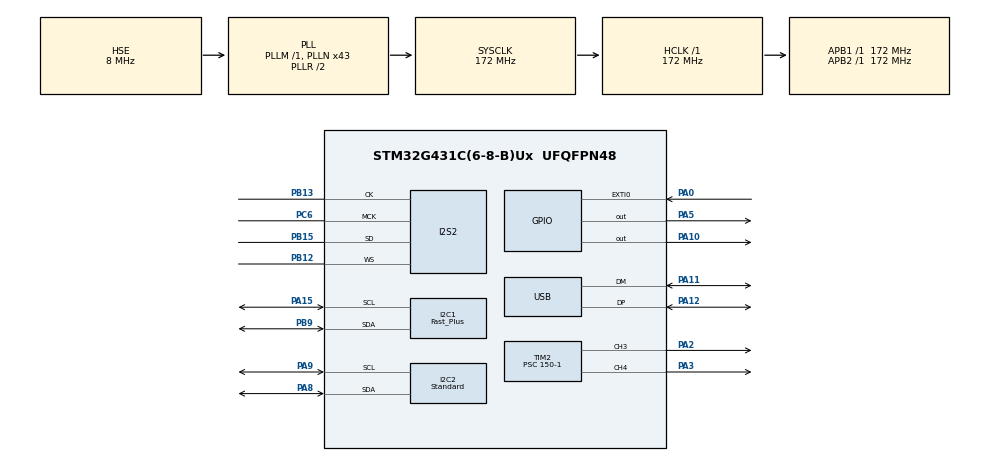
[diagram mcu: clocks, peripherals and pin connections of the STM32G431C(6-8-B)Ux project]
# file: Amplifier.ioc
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Dma.Request0=SPI2_TX
Dma.SPI2_TX.0.Direction=DMA_MEMORY_TO_PERIPH
Dma.SPI2_TX.0.EventEnable=DISABLE
Dma.SPI2_TX.0.Instance=DMA1_Channel1
Dma.SPI2_TX.0.MemDataAlignment=DMA_MDATAALIGN_HALFWORD
Dma.SPI2_TX.0.MemInc=DMA_MINC_ENABLE
Dma.SPI2_TX.0.Mode=DMA_NORMAL
Dma.SPI2_TX.0.PeriphDataAlignment=DMA_PDATAALIGN_HALFWORD
Dma.SPI2_TX.0.PeriphInc=DMA_PINC_DISABLE
Dma.SPI2_TX.0.Polarity=HAL_DMAMUX_REQ_GEN_RISING
Dma.SPI2_TX.0.Priority=DMA_PRIORITY_VERY_HIGH
Dma.SPI2_TX.0.RequestNumber=1
Dma.SPI2_TX.0.SignalID=NONE
Dma.SPI2_TX.0.SyncEnable=DISABLE
Dma.SPI2_TX.0.SyncPolarity=HAL_DMAMUX_SYNC_NO_EVENT
Dma.SPI2_TX.0.SyncRequestNumber=1
Dma.SPI2_TX.0.SyncSignalID=NONE
I2C1.Analog_Filter=I2C_ANALOGFILTER_ENABLE
I2C1.CustomTiming=Disabled
I2C1.I2C_Speed_Mode=I2C_Fast_Plus
I2C1.Timing=0x10C31226
I2C2.CustomTiming=Disabled
I2C2.I2C_Fall_Time=80
I2C2.I2C_Rise_Time=80
I2C2.I2C_Speed_Mode=I2C_Standard
I2C2.Speed=100
I2C2.Timing=0x30E1A9F7
I2S2.AudioFreq=I2S_AUDIOFREQ_48K
I2S2.DataFormat=I2S_DATAFORMAT_16B
I2S2.ErrorAudioFreq=-0.01 %
I2S2.FullDuplexMode=I2S_FULLDUPLEXMODE_DISABLE
I2S2.Instance=SPI$Index
I2S2.RealAudioFreq=47.991 KHz
I2S2.VirtualMode=I2S_MODE_MASTER
Mcu.Family=STM32G4
Mcu.Name=STM32G431C(6-8-B)Ux
Mcu.Package=UFQFPN48
NVIC.DMA1_Channel1_IRQn=true\:0\:0\:true\:false\:true\:false\:true\:true
NVIC.EXTI0_IRQn=true\:0\:0\:false\:false\:true\:true\:true\:true
NVIC.PriorityGroup=NVIC_PRIORITYGROUP_4
NVIC.SPI2_IRQn=true\:0\:0\:true\:false\:true\:true\:true\:true
NVIC.TIM6_DAC_IRQn=true\:0\:0\:false\:false\:true\:true\:true\:true
NVIC.TIM7_IRQn=true\:0\:0\:false\:false\:true\:true\:true\:true
NVIC.USB_LP_IRQn=true\:0\:0\:true\:false\:true\:false\:true\:true
PA0.GPIO_ModeDefaultEXTI=GPIO_MODE_IT_FALLING
PA0.Signal=GPXTI0
PA10.Signal=GPIO_Output
PA11.Mode=Device
PA11.Signal=USB_DM
PA12.Mode=Device
PA12.Signal=USB_DP
PA13.Mode=Serial_Wire
PA13.Signal=SYS_JTMS-SWDIO
PA14.Mode=Serial_Wire
PA14.Signal=SYS_JTCK-SWCLK
PA15.Mode=I2C
PA15.Signal=I2C1_SCL
PA2.Signal=S_TIM2_CH3
PA3.Signal=S_TIM2_CH4
PA5.Signal=GPIO_Output
PA8.Mode=I2C
PA8.Signal=I2C2_SDA
PA9.Mode=I2C
PA9.Signal=I2C2_SCL
PB12.Mode=Half_Duplex_Master
PB12.Signal=I2S2_WS
PB13.Mode=Half_Duplex_Master
PB13.Signal=I2S2_CK
PB15.Mode=Half_Duplex_Master
PB15.Signal=I2S2_SD
PB9.Mode=I2C
PB9.Signal=I2C1_SDA
PC6.Mode=Master_Clock_Activated
PC6.Signal=I2S2_MCK
PF0-OSC_IN.Mode=HSE-External-Oscillator
PF0-OSC_IN.Signal=RCC_OSC_IN
PF1-OSC_OUT.Mode=HSE-External-Oscillator
PF1-OSC_OUT.Signal=RCC_OSC_OUT
ProjectManager.HeapSize=0x0
ProjectManager.StackSize=0x400
ProjectManager.TargetToolchain=CMake
RCC.ADC12Freq_Value=172000000
RCC.AHBFreq_Value=172000000
RCC.APB1Freq_Value=172000000
RCC.APB1TimFreq_Value=172000000
RCC.APB2Freq_Value=172000000
RCC.APB2TimFreq_Value=172000000
RCC.CK48CLockSelection=RCC_USBCLKSOURCE_HSI48
RCC.CortexFreq_Value=172000000
RCC.EXTERNAL_CLOCK_VALUE=12288000
RCC.HCLKFreq_Value=172000000
RCC.HSE_VALUE=8000000
RCC.HSI48_VALUE=48000000
RCC.HSI_VALUE=16000000
RCC.I2SCLockSelection=RCC_I2SCLKSOURCE_PLL
RCC.LSE_VALUE=32768
RCC.PLLN=43
RCC.PLLSourceVirtual=RCC_PLLSOURCE_HSE
RCC.PREFETCH_ENABLE=1
RCC.SYSCLKFreq_VALUE=172000000
RCC.SYSCLKSource=RCC_SYSCLKSOURCE_PLLCLK
RCC.USBFreq_Value=48000000
RCC.VCOOutputFreq_Value=344000000
SH.S_TIM2_CH3.0=TIM2_CH3,PWM Generation3 CH3
SH.S_TIM2_CH4.0=TIM2_CH4,PWM Generation4 CH4
TIM2.Channel-PWM\ Generation3\ CH3=TIM_CHANNEL_3
TIM2.Channel-PWM\ Generation4\ CH4=TIM_CHANNEL_4
TIM2.PeriodNoDither=1000-1
TIM2.Prescaler=150-1
TIM2.PulseNoDither_3=400
TIM2.PulseNoDither_4=400
TIM6.PeriodNoDither=10000-1
TIM6.Prescaler=17200-1
TIM7.PeriodNoDither=50963-1
TIM7.Prescaler=9-1
USB_DEVICE.CLASS_NAME_FS=AUDIO
USB_DEVICE.LANGID_STRING=1033
USB_DEVICE.USBD_AUDIO_FREQ=48000
USB_DEVICE.VirtualMode=Audio
USB_DEVICE.VirtualModeFS=Audio_FS
VP_SYS_VS_DBSignals.Mode=DisableDeadBatterySignals
VP_TIM2_VS_ClockSourceINT.Mode=Internal
VP_TIM6_VS_ClockSourceINT.Mode=Enable_Timer
VP_TIM7_VS_ClockSourceINT.Mode=Enable_Timer
VP_USB_DEVICE_VS_USB_DEVICE_AUDIO_FS.Mode=AUDIO_FS
board=custom

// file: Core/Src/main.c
/* USER CODE BEGIN Header */
/**
  ******************************************************************************
  * @file           : main.c
  * @brief          : Main program body
  ******************************************************************************
  * @attention
  *
  * Copyright (c) 2024 STMicroelectronics.
  * All rights reserved.
  *
  * This software is licensed under terms that can be found in the LICENSE file
  * in the root directory of this software component.
  * If no LICENSE file comes with this software, it is provided AS-IS.
  *
  ******************************************************************************
  */
/* USER CODE END Header */
#include "main.h"
#include "dma.h"
#include "i2c.h"
#include "i2s.h"
#include "tim.h"
#include "usb_device.h"
#include "gpio.h"

/* USER CODE BEGIN Includes */
#include "oled.h"
#include "fft.h"
#include "arm_const_structs.h"
#include "audio.h"

const arm_cfft_instance_f32 arm_cfft_sR_f32_len32;
/* USER CODE END Includes */

/* USER CODE BEGIN PV */
//const float fft_raw[32] = {
//50,62,73,84,93,101,107,110,112,110,107,101,93,84,73,62,
//50,37,26,15,6,-1,-7,-10,-12,-10,-7,-1,6,15,26,37
//};
//float complex fft_out[33] = {0};
/* USER CODE END PV */

void SystemClock_Config(void);

/* USER CODE BEGIN 0 */
static void usbd_port_config(uint8_t state)
{
    GPIO_InitTypeDef GPIO_Initure;
    __HAL_RCC_GPIOA_CLK_ENABLE();     /* 使能PORTA时钟 */

    if (state)
    {
        USB->CNTR &= ~(1 << 1); /* PWDN = 0, 退出断电模式 */

        /* PA11引脚模式设置,复用功能 */
        GPIO_Initure.Pin = GPIO_PIN_11;
        GPIO_Initure.Mode = GPIO_MODE_AF_PP;
        GPIO_Initure.Pull = GPIO_PULLUP;
        GPIO_Initure.Speed = GPIO_SPEED_FREQ_HIGH;
        HAL_GPIO_Init(GPIOA, &GPIO_Initure);

        /* PA12引脚模式设置,复用功能 */
        GPIO_Initure.Pin = GPIO_PIN_12;
        GPIO_Initure.Mode = GPIO_MODE_AF_PP;
        GPIO_Initure.Pull = GPIO_PULLUP;
        GPIO_Initure.Speed = GPIO_SPEED_FREQ_HIGH;
        HAL_GPIO_Init(GPIOA, &GPIO_Initure);

    }
    else
    {
        USB->CNTR |= 1 << 1;    /* PWDN = 1, 进入断电模式 */

        /* PA11引脚模式设置,推挽输出 */
        GPIO_Initure.Pin = GPIO_PIN_11;
        GPIO_Initure.Mode = GPIO_MODE_OUTPUT_PP;
        GPIO_Initure.Pull = GPIO_PULLUP;
        GPIO_Initure.Speed = GPIO_SPEED_FREQ_HIGH;
        HAL_GPIO_Init(GPIOA, &GPIO_Initure);

        /* PA12引脚模式设置,推挽输出 */
        GPIO_Initure.Pin = GPIO_PIN_12;
        HAL_GPIO_Init(GPIOA, &GPIO_Initure);

        HAL_GPIO_WritePin(GPIOA, GPIO_PIN_11, GPIO_PIN_RESET); /* PA11 = 0 */
        HAL_GPIO_WritePin(GPIOA, GPIO_PIN_12, GPIO_PIN_RESET); /* PA12 = 0 */

    }
}

/* USER CODE END 0 */

int main(void)
{

  /* MCU Configuration--------------------------------------------------------*/

  /* Reset of all peripherals, Initializes the Flash interface and the Systick. */
  HAL_Init();

  /* Configure the system clock */
  SystemClock_Config();

  /* USER CODE BEGIN SysInit */
    __HAL_FLASH_INSTRUCTION_CACHE_ENABLE();
    __HAL_FLASH_DATA_CACHE_ENABLE();
    usbd_port_config(0);
    HAL_Delay(500);
//    usbd_port_config(1);
//    HAL_Delay(500);
  /* USER CODE END SysInit */

  /* Initialize all configured peripherals */
  MX_GPIO_Init();
  MX_DMA_Init();
  MX_I2C1_Init();
  MX_I2C2_Init();
  MX_I2S2_Init();
  MX_TIM2_Init();
  MX_USB_Device_Init();
  MX_TIM6_Init();
  MX_TIM7_Init();
  /* USER CODE BEGIN 2 */
    HAL_Delay(500);
    HAL_GPIO_WritePin(GPIOA, GPIO_PIN_10, GPIO_PIN_SET);
    HAL_TIM_PWM_Start(&htim2, TIM_CHANNEL_3);
    HAL_TIM_PWM_Start(&htim2, TIM_CHANNEL_4);
    uint8_t  pwm_flag = 0;
    arm_hanning_f32(hanning_window, FFT_SIZE);
    CS4398_GPIO_Init();
    CS4398_Init();
    CS4398_RESET();
    CS4398_Power_Set(0,0);
    CS4398_Cross_Set(2,0,1);
    CS4398_I2S_Cfg(1, 2, 0);
    u8g2_Init(&u8g2);
    u8g2_ClearDisplay(&u8g2);
    u8g2_DrawXBMP(&u8g2, 0, 0, 128, 64, welcome_frame);
    u8g2_SendBuffer(&u8g2);
    HAL_Delay(500);

    HAL_TIM_Base_Start_IT(&htim6);
//    HAL_TIM_Base_Start_IT(&htim7);
  /* USER CODE END 2 */

  /* Infinite loop */
  /* USER CODE BEGIN WHILE */
  while (1)
  {
    if(g_buffer_ready == 1)
    {
        if (g_display_mode == 0)
        {
            Audio_FFT();
        }
        else if (g_display_mode == 1)
        {
            Audio_Wave_Display();
        }
        g_buffer_ready = 0;
    }

    /* USER CODE END WHILE */

  }
}

void SystemClock_Config(void)
{
  RCC_OscInitTypeDef RCC_OscInitStruct = {0};
  RCC_ClkInitTypeDef RCC_ClkInitStruct = {0};

  /** Initializes the RCC Oscillators according to the specified parameters
  * in the RCC_OscInitTypeDef structure.
  */
  RCC_OscInitStruct.OscillatorType = RCC_OSCILLATORTYPE_HSI48|RCC_OSCILLATORTYPE_HSE;
  RCC_OscInitStruct.HSEState = RCC_HSE_ON;
  RCC_OscInitStruct.HSI48State = RCC_HSI48_ON;
  RCC_OscInitStruct.PLL.PLLState = RCC_PLL_ON;
  RCC_OscInitStruct.PLL.PLLSource = RCC_PLLSOURCE_HSE;
  RCC_OscInitStruct.PLL.PLLM = RCC_PLLM_DIV1;
  RCC_OscInitStruct.PLL.PLLN = 43;
  RCC_OscInitStruct.PLL.PLLP = RCC_PLLP_DIV2;
  RCC_OscInitStruct.PLL.PLLQ = RCC_PLLQ_DIV2;
  RCC_OscInitStruct.PLL.PLLR = RCC_PLLR_DIV2;
  if (HAL_RCC_OscConfig(&RCC_OscInitStruct) != HAL_OK)
  {
    Error_Handler();
  }
    HAL_PWREx_ControlVoltageScaling(PWR_REGULATOR_VOLTAGE_SCALE1_BOOST);
  /** Initializes the CPU, AHB and APB buses clocks
  */
  RCC_ClkInitStruct.ClockType = RCC_CLOCKTYPE_HCLK|RCC_CLOCKTYPE_SYSCLK
                              |RCC_CLOCKTYPE_PCLK1|RCC_CLOCKTYPE_PCLK2;
  RCC_ClkInitStruct.SYSCLKSource = RCC_SYSCLKSOURCE_PLLCLK;
  RCC_ClkInitStruct.AHBCLKDivider = RCC_SYSCLK_DIV1;
  RCC_ClkInitStruct.APB1CLKDivider = RCC_HCLK_DIV1;
  RCC_ClkInitStruct.APB2CLKDivider = RCC_HCLK_DIV1;

  if (HAL_RCC_ClockConfig(&RCC_ClkInitStruct, FLASH_LATENCY_2) != HAL_OK)
  {
    Error_Handler();
  }
}

/* USER CODE BEGIN 4 */
//HAL_PWREx_ControlVoltageScaling(PWR_REGULATOR_VOLTAGE_SCALE1_BOOST);
//if (HAL_RCC_ClockConfig(&RCC_ClkInitStruct, FLASH_LATENCY_2) != HAL_OK)

void HAL_GPIO_EXTI_Callback(uint16_t GPIO_Pin)
{
    if (GPIO_Pin == GPIO_PIN_0)
    {
        g_display_mode = !g_display_mode;
    }
}
/* USER CODE END 4 */

void Error_Handler(void)
{
  __disable_irq();
  while (1)
  {
  }
}
